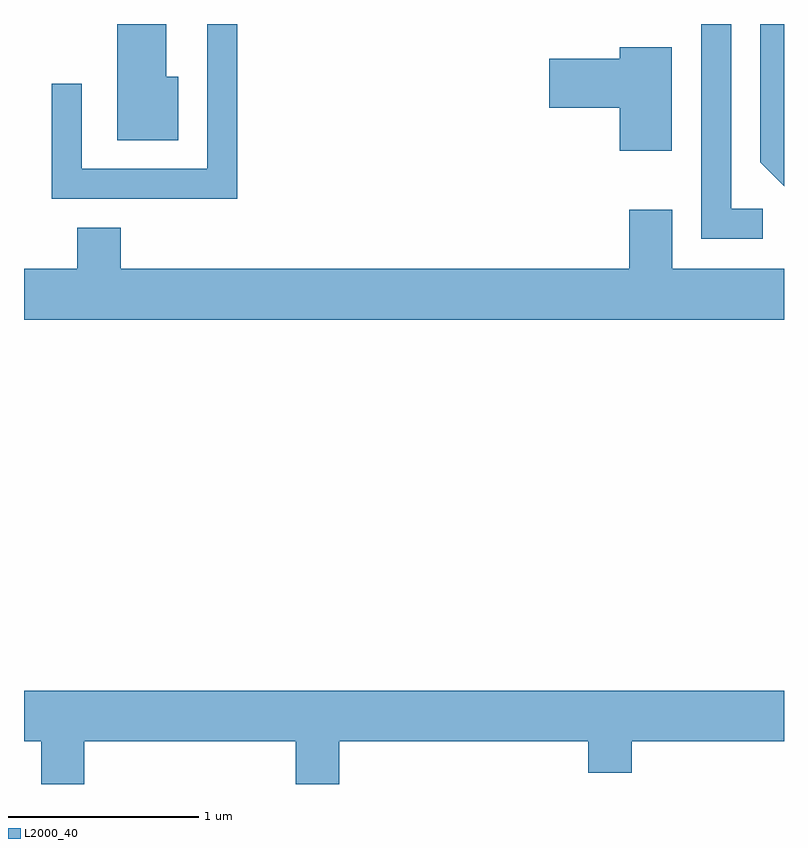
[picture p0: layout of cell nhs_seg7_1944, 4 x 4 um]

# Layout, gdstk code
import gdstk
lib = gdstk.Library(unit=1e-6, precision=1e-09)
def P(c, l, *ps):  # polygons
    for p in ps: c.add(gdstk.Polygon(p, *l))
L2000_40 = (2000, 40)

nhs_seg7_1944 = lib.new_cell('nhs_seg7_1944')
P(nhs_seg7_1944, L2000_40, [(247.498,1779.279),(247.334,1779.279),(247.334,1780.252),(247.176,1780.252),(247.176,1779.121),(247.498,1779.121)],
  [(247.611,1780.252),(247.486,1780.252),(247.486,1779.524),(247.611,1779.399)],
  [(244.734,1780.252),(244.576,1780.252),(244.576,1779.489),(243.914,1779.489),(243.914,1779.938),(243.756,1779.938),(243.756,1779.331),(244.734,1779.331)],
  [(244.424,1779.974),(244.359,1779.974),(244.359,1780.252),(244.101,1780.252),(244.101,1779.641),(244.424,1779.641)],
  [(247.019,1780.129),(246.746,1780.129),(246.746,1780.069),(246.376,1780.069),(246.376,1779.811),(246.746,1779.811),(246.746,1779.586),(247.019,1779.586)],
  [(247.611,1778.964),(247.024,1778.964),(247.024,1779.274),(246.796,1779.274),(246.796,1778.964),(244.119,1778.964),(244.119,1779.179),(243.891,1779.179),(243.891,1778.964),(243.611,1778.964),(243.611,1778.696),(247.611,1778.696)],
  [(243.929,1776.476),(245.041,1776.476),(245.041,1776.252),(245.269,1776.252),(245.269,1776.476),(246.581,1776.476),(246.581,1776.311),(246.809,1776.311),(246.809,1776.476),(247.611,1776.476),(247.611,1776.744),(243.611,1776.744),(243.611,1776.476),(243.701,1776.476),(243.701,1776.252),(243.929,1776.252)])

lib.write_gds('nhs_seg7_1944.gds')
